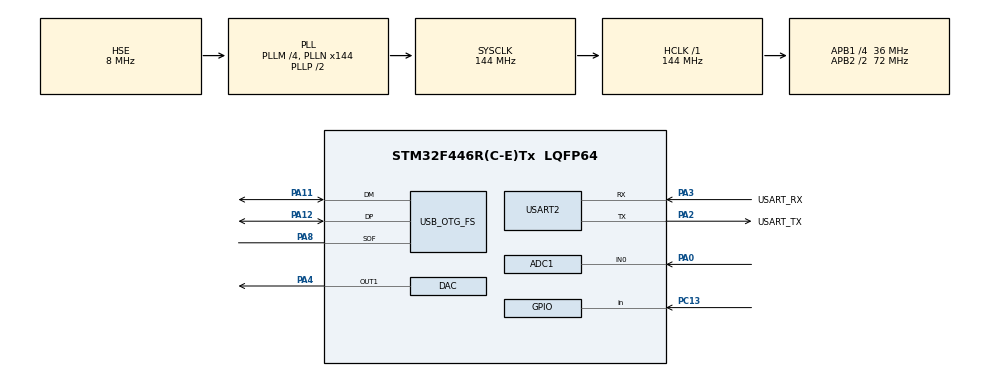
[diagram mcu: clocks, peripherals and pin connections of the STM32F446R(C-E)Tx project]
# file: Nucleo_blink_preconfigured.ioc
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ADC1.Channel-2\#ChannelRegularConversion=ADC_CHANNEL_0
ADC1.ClockPrescaler=ADC_CLOCK_SYNC_PCLK_DIV4
ADC1.DMAContinuousRequests=ENABLE
ADC1.ExternalTrigConv=ADC_EXTERNALTRIGCONV_T2_TRGO
ADC1.NbrOfConversionFlag=1
ADC1.Rank-2\#ChannelRegularConversion=1
ADC1.SamplingTime-2\#ChannelRegularConversion=ADC_SAMPLETIME_144CYCLES
ADC1.ScanConvMode=DISABLE
ADC1.master=1
DAC.DAC_Trigger=DAC_TRIGGER_T6_TRGO
Dma.ADC1.0.Direction=DMA_PERIPH_TO_MEMORY
Dma.ADC1.0.FIFOMode=DMA_FIFOMODE_DISABLE
Dma.ADC1.0.Instance=DMA2_Stream0
Dma.ADC1.0.MemDataAlignment=DMA_MDATAALIGN_HALFWORD
Dma.ADC1.0.MemInc=DMA_MINC_ENABLE
Dma.ADC1.0.Mode=DMA_CIRCULAR
Dma.ADC1.0.PeriphDataAlignment=DMA_PDATAALIGN_HALFWORD
Dma.ADC1.0.PeriphInc=DMA_PINC_DISABLE
Dma.ADC1.0.Priority=DMA_PRIORITY_LOW
Dma.DAC1.1.Direction=DMA_MEMORY_TO_PERIPH
Dma.DAC1.1.FIFOMode=DMA_FIFOMODE_DISABLE
Dma.DAC1.1.Instance=DMA1_Stream5
Dma.DAC1.1.MemDataAlignment=DMA_MDATAALIGN_WORD
Dma.DAC1.1.MemInc=DMA_MINC_ENABLE
Dma.DAC1.1.Mode=DMA_CIRCULAR
Dma.DAC1.1.PeriphDataAlignment=DMA_PDATAALIGN_WORD
Dma.DAC1.1.PeriphInc=DMA_PINC_DISABLE
Dma.DAC1.1.Priority=DMA_PRIORITY_VERY_HIGH
Dma.Request0=ADC1
Dma.Request1=DAC1
Mcu.Family=STM32F4
Mcu.Name=STM32F446R(C-E)Tx
Mcu.Package=LQFP64
NVIC.DMA1_Stream5_IRQn=true\:0\:0\:false\:false\:true\:false\:true\:true
NVIC.DMA2_Stream0_IRQn=true\:0\:0\:false\:false\:true\:false\:true\:true
NVIC.OTG_FS_IRQn=true\:0\:0\:false\:false\:true\:false\:true\:true
NVIC.PriorityGroup=NVIC_PRIORITYGROUP_0
NVIC.TIM6_DAC_IRQn=true\:0\:0\:false\:false\:true\:true\:true\:true
PA0-WKUP.Signal=ADCx_IN0
PA11.Mode=Device_Only
PA11.Signal=USB_OTG_FS_DM
PA12.Mode=Device_Only
PA12.Signal=USB_OTG_FS_DP
PA13.GPIO_Label=TMS
PA13.Mode=Serial_Wire
PA13.Signal=SYS_JTMS-SWDIO
PA14.GPIO_Label=TCK
PA14.Mode=Serial_Wire
PA14.Signal=SYS_JTCK-SWCLK
PA2.GPIO_Label=USART_TX
PA2.Mode=Asynchronous
PA2.Signal=USART2_TX
PA3.GPIO_Label=USART_RX
PA3.Mode=Asynchronous
PA3.Signal=USART2_RX
PA4.Signal=COMP_DAC1_group
PA8.Mode=Activate_SOF_FS
PA8.Signal=USB_OTG_FS_SOF
PB3.GPIO_Label=SWO
PB3.Signal=SYS_JTDO-SWO
PC13.Signal=GPIO_Input
PH0-OSC_IN.Mode=HSE-External-Oscillator
PH0-OSC_IN.Signal=RCC_OSC_IN
PH1-OSC_OUT.Mode=HSE-External-Oscillator
PH1-OSC_OUT.Signal=RCC_OSC_OUT
ProjectManager.HeapSize=0x4000
ProjectManager.StackSize=0x2000
ProjectManager.TargetToolchain=STM32CubeIDE
RCC.48MHZClocksFreq_Value=84000000
RCC.AHBFreq_Value=144000000
RCC.APB1CLKDivider=RCC_HCLK_DIV4
RCC.APB1Freq_Value=36000000
RCC.APB1TimFreq_Value=72000000
RCC.APB2CLKDivider=RCC_HCLK_DIV2
RCC.APB2Freq_Value=72000000
RCC.APB2TimFreq_Value=144000000
RCC.CortexFreq_Value=144000000
RCC.FLatency-AdvancedSettings=FLASH_LATENCY_4
RCC.HCLKFreq_Value=144000000
RCC.HSE_VALUE=8000000
RCC.HSI_VALUE=16000000
RCC.PLLM=4
RCC.PLLN=144
RCC.PLLQ=6
RCC.PLLSourceVirtual=RCC_PLLSOURCE_HSE
RCC.SYSCLKFreq_VALUE=144000000
RCC.SYSCLKSource=RCC_SYSCLKSOURCE_PLLCLK
RCC.USBFreq_Value=48000000
RCC.VCOOutputFreq_Value=288000000
SH.ADCx_IN0.0=ADC1_IN0,IN0
SH.COMP_DAC1_group.0=DAC_OUT1,DAC_OUT1
TIM2.Channel-PWM\ Generation1\ No\ Output=TIM_CHANNEL_1
TIM2.Period=500-1
TIM2.Prescaler=1440-1
TIM2.TIM_MasterOutputTrigger=TIM_TRGO_UPDATE
TIM6.AutoReloadPreload=TIM_AUTORELOAD_PRELOAD_DISABLE
TIM6.Period=1500-1
TIM6.Prescaler=0
TIM6.TIM_MasterOutputTrigger=TIM_TRGO_UPDATE
USART2.VirtualMode=VM_ASYNC
USB_DEVICE.CLASS_NAME_FS=AUDIO
USB_DEVICE.USBD_AUDIO_FREQ-AUDIO_FS=48000
USB_DEVICE.USBD_MAX_NUM_INTERFACES-AUDIO_FS=2
USB_DEVICE.VirtualMode-AUDIO_FS=Audio
USB_DEVICE.VirtualModeFS=Audio_FS
USB_OTG_FS.VirtualMode=Device_Only
VP_TIM2_VS_ClockSourceINT.Mode=Internal
VP_TIM2_VS_no_output1.Mode=PWM Generation1 No Output
VP_TIM6_VS_ClockSourceINT.Mode=Enable_Timer
VP_USB_DEVICE_VS_USB_DEVICE_AUDIO_FS.Mode=AUDIO_FS
board=NUCLEO-F446RE

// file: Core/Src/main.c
/* USER CODE BEGIN Header */
/**
 ******************************************************************************
 * @file           : main.c
 * @brief          : Main program body
 ******************************************************************************
 * @attention
 *
 * Copyright (c) 2022 STMicroelectronics.
 * All rights reserved.
 *
 * This software is licensed under terms that can be found in the LICENSE file
 * in the root directory of this software component.
 * If no LICENSE file comes with this software, it is provided AS-IS.
 *
 ******************************************************************************
 */
/* USER CODE END Header */
#include "main.h"
#include "usb_device.h"

/* USER CODE BEGIN Includes */
#include <string.h>
#include <math.h>
#include <stdio.h>
#include "usbd_midi.h"
extern USBD_HandleTypeDef hUsbDeviceFS;

/* USER CODE END Includes */

/* USER CODE BEGIN PD */
#define NS  128
#define BUFFER_SIZE  128
#define FLOAT_TO_INT16 32768.0f
#define FLOAT_TO_INT12 2047.5f
//#define FLOAT_TO_INT12 1024.0f
//1024.0f//
#define INT12_TO_FLOAT 1.0f / (2047.5f)
//extern uint8_t dataIsReadyFlag;
/* USER CODE END PD */

/* USER CODE BEGIN PM */
void HAL_DAC_ConvHalfCpltCallbackCh1(DAC_HandleTypeDef *hdac_);
void HAL_DAC_ConvCpltCallbackCh1(DAC_HandleTypeDef *hdac_);
/* USER CODE END PM */

ADC_HandleTypeDef hadc1;
DMA_HandleTypeDef hdma_adc1;

DAC_HandleTypeDef hdac;
DMA_HandleTypeDef hdma_dac1;

TIM_HandleTypeDef htim2;
TIM_HandleTypeDef htim6;

UART_HandleTypeDef huart2;

/* USER CODE BEGIN PV */

uint32_t Wave_LUT[NS] = { 2048, 2149, 2250, 2350, 2450, 2549, 2646, 2742, 2837,
		2929, 3020, 3108, 3193, 3275, 3355, 3431, 3504, 3574, 3639, 3701, 3759,
		3812, 3861, 3906, 3946, 3982, 4013, 4039, 4060, 4076, 4087, 4094, 4095,
		4091, 4082, 4069, 4050, 4026, 3998, 3965, 3927, 3884, 3837, 3786, 3730,
		3671, 3607, 3539, 3468, 3394, 3316, 3235, 3151, 3064, 2975, 2883, 2790,
		2695, 2598, 2500, 2400, 2300, 2199, 2098, 1997, 1896, 1795, 1695, 1595,
		1497, 1400, 1305, 1212, 1120, 1031, 944, 860, 779, 701, 627, 556, 488,
		424, 365, 309, 258, 211, 168, 130, 97, 69, 45, 26, 13, 4, 0, 1, 8, 19,
		35, 56, 82, 113, 149, 189, 234, 283, 336, 394, 456, 521, 591, 664, 740,
		820, 902, 987, 1075, 1166, 1258, 1353, 1449, 1546, 1645, 1745, 1845,
		1946, 2047 };
uint32_t dacData[NS] = { 2048, 2149, 2250, 2350, 2450, 2549, 2646, 2742, 2837,
		2929, 3020, 3108, 3193, 3275, 3355, 3431, 3504, 3574, 3639, 3701, 3759,
		3812, 3861, 3906, 3946, 3982, 4013, 4039, 4060, 4076, 4087, 4094, 4095,
		4091, 4082, 4069, 4050, 4026, 3998, 3965, 3927, 3884, 3837, 3786, 3730,
		3671, 3607, 3539, 3468, 3394, 3316, 3235, 3151, 3064, 2975, 2883, 2790,
		2695, 2598, 2500, 2400, 2300, 2199, 2098, 1997, 1896, 1795, 1695, 1595,
		1497, 1400, 1305, 1212, 1120, 1031, 944, 860, 779, 701, 627, 556, 488,
		424, 365, 309, 258, 211, 168, 130, 97, 69, 45, 26, 13, 4, 0, 1, 8, 19,
		35, 56, 82, 113, 149, 189, 234, 283, 336, 394, 456, 521, 591, 664, 740,
		820, 902, 987, 1075, 1166, 1258, 1353, 1449, 1546, 1645, 1745, 1845,
		1946, 2047 };

static volatile uint32_t *outBufPtr = &dacData[0];
uint8_t dataReadyFlag;
double deltaOmega = 0.0f;
double omega = 0.0f;
uint8_t timesCalled = 0;
uint16_t adcControlData[1];
float potValue;
double period;
float (*signalFunc)(float);
char resetButton = 0;

/* USER CODE END PV */

void SystemClock_Config(void);
static void MX_GPIO_Init(void);
static void MX_DMA_Init(void);
static void MX_USART2_UART_Init(void);
static void MX_DAC_Init(void);
static void MX_TIM6_Init(void);
static void MX_ADC1_Init(void);
static void MX_TIM2_Init(void);

/* USER CODE BEGIN 0 */

void HAL_DAC_ConvHalfCpltCallbackCh1(DAC_HandleTypeDef *hdac_) {
	if (hdac_ == &hdac) {
		outBufPtr = &dacData[0];
		dataReadyFlag = 1;
	}
}
void HAL_DAC_ConvCpltCallbackCh1(DAC_HandleTypeDef *hdac_) {
	if (hdac_ == &hdac) {
		outBufPtr = &dacData[BUFFER_SIZE / 2];
		dataReadyFlag = 1;
	}
}

// Called when buffer is completely filled
float freqRange = 10.0f - 0.0f;
void HAL_ADC_ConvCpltCallback(ADC_HandleTypeDef *hadc) {
	if (hadc == &hadc1) {
		float frequency;

		potValue = ((float) (4095 - adcControlData[0])) / 4095.0f;
		frequency = 440.0 + potValue * 440.0;
		setFrequency(frequency);
	}
}

// This function calculates the PolyBLEPs
double poly_blep(double t) {
	double dt = deltaOmega;

// t-t^2/2 +1/2
// 0 < t <= 1
// discontinuities between 0 & 1
	if (t < dt) {
		t /= dt;
		return t + t - t * t - 1.0;
	}

// t^2/2 +t +1/2
// -1 <= t <= 0
// discontinuities between -1 & 0
	else if (t > 1 - dt) {
		t = (t - 1.0) / dt;
		return t * t + t + t + 1.0;
	}

// no discontinuities
// 0 otherwise
	else
		return 0.0;
}

float sine(float phase) {
	return sinf(M_TWOPI * phase);
}

float square(float phase) {
	double t = phase; // Define half phase
	float value = 0.0;

	if (phase < 0.5) {
		value = 1.0; // Flip
	} else {
		value = -1.0; // Flop
	}
	value += poly_blep(t); // Layer output of Poly BLEP on top (flip)
	value -= poly_blep(fmod(t + 0.5, 1.0)); // Layer output of Poly BLEP on top (flop)

	return value; // Output

}

float sawtooth(float phase) {
	double t = phase; // Define half phase
	float value = 0.0;
	value = (2.0 * phase) - 1.0; // Render naive waveshape
	value -= poly_blep(t); // Layer output of Poly BLEP on top
	return value;
}

float triangle(float phase) {
	float value = (2.0 * (phase * (1.0 / M_TWOPI))) - 1.0;
	if (value < 0.0) {
		value = -value;
	}
	return 2.0 * (value - 0.5);
}

void setFrequency(double frequency) {
	deltaOmega = frequency / 48000.0f;
}

uint32_t timesProcessed = 0;

void processUSBData() {
	USBD_MIDI_HandleTypeDef *haudio =
			(USBD_MIDI_HandleTypeDef*) hUsbDeviceFS.pClassDataCmsit[hUsbDeviceFS.classId];

	if (haudio == NULL) {
		return;
	}
	timesProcessed++; // 1 ms counter
	double tempDeltaOmega = 0.0;
	if(timesProcessed >= 1000) {
		timesProcessed -= 1000;
	}
	if(timesProcessed < 333) {
		tempDeltaOmega = 440.0 / 48000.0f;
	} else if (timesProcessed < 666) {
		tempDeltaOmega = 659.25 / 48000.0f;
	} else{
		tempDeltaOmega = 880.0 / 48000.0f;
	}
	int16_t *buf_part = haudio->in_buffer
			+ (AUDIO_IN_PACKET / 2) * haudio->in_buffer_half; // USB mic buffer access

	for (uint8_t n = 0; n < AUDIO_IN_PACKET / 2; n++) {
		float output = signalFunc(haudio->omega);
		buf_part[n] = (int16_t) (32767.0 * output);
		haudio->omega += deltaOmega;
		if (haudio->omega >= 1.0) {
			haudio->omega -= 1.0;
		}
	}
	haudio->data_ready_flag = 0;
}

void processData() {
	for (uint8_t n = 0; n < BUFFER_SIZE / 2; n++) {
		float output = signalFunc(omega);
		output += 1.0f;
		outBufPtr[n] = (uint32_t) (FLOAT_TO_INT12 * output);
		omega += deltaOmega;
		if (omega >= 1.0) {
			omega -= 1.0;
		}
	}

	dataReadyFlag = 0;
}
/* USER CODE END 0 */

int main(void)
{
  /* USER CODE BEGIN 1 */
	char uart_buf[1000];
	int uart_buf_len;
	uint16_t timer_val;

  /* USER CODE END 1 */

  /* MCU Configuration--------------------------------------------------------*/

  /* Reset of all peripherals, Initializes the Flash interface and the Systick. */
  HAL_Init();

  /* Configure the system clock */
  SystemClock_Config();

  /* Initialize all configured peripherals */
  MX_GPIO_Init();
  MX_DMA_Init();
  MX_USART2_UART_Init();
  MX_DAC_Init();
  MX_TIM6_Init();
  MX_ADC1_Init();
  MX_TIM2_Init();
  MX_USB_DEVICE_Init();
  /* USER CODE BEGIN 2 */
	signalFunc = sawtooth;
	setFrequency(440.0);

	HAL_TIM_Base_Start_IT(&htim6);
	HAL_DAC_Start_DMA(&hdac, DAC_CHANNEL_1, (uint32_t*) dacData,
	BUFFER_SIZE,
	DAC_ALIGN_12B_R);
	HAL_ADC_Start_DMA(&hadc1, (uint32_t*) adcControlData, 1);
	HAL_TIM_Base_Start(&htim2);

	uint32_t last_time = HAL_GetTick();

  /* USER CODE END 2 */

  /* Infinite loop */
  /* USER CODE BEGIN WHILE */
	while (1) {
		USBD_MIDI_HandleTypeDef *haudio =
				(USBD_MIDI_HandleTypeDef*) hUsbDeviceFS.pClassDataCmsit[hUsbDeviceFS.classId];
		if (dataReadyFlag) {
			processData();
		}
		if (haudio != NULL && haudio->data_ready_flag == 1) {
			processUSBData();
		}

		int stateOfPushButton = HAL_GPIO_ReadPin(GPIOC, GPIO_PIN_13);
		if (stateOfPushButton == 1) {
			resetButton = 0;
		} else if (resetButton == 0) {
			if (signalFunc == sine) {
				signalFunc = square;
			} else if (signalFunc == square) {
				signalFunc = sawtooth;
			} else if (signalFunc == sawtooth) {
				signalFunc = sine;
			}

			resetButton = 1;
		}
		if (HAL_GetTick() - last_time > 1000) {
			if (haudio != NULL) {
				uart_buf_len = sprintf(uart_buf, "%d, %d\r\n", haudio->frame_rate, timesProcessed);
				HAL_UART_Transmit(&huart2, (uint8_t*) uart_buf, uart_buf_len, 100);
				haudio->frame_rate=0;
			}
//			uart_buf_len = sprintf(uart_buf, "test\r\n");
//			HAL_UART_Transmit(&huart2, (uint8_t*) uart_buf, uart_buf_len, 100);
			last_time = HAL_GetTick();
		}
	}
    /* USER CODE END WHILE */

}

void SystemClock_Config(void)
{
  RCC_OscInitTypeDef RCC_OscInitStruct = {0};
  RCC_ClkInitTypeDef RCC_ClkInitStruct = {0};

  /** Configure the main internal regulator output voltage
  */
  __HAL_RCC_PWR_CLK_ENABLE();
  __HAL_PWR_VOLTAGESCALING_CONFIG(PWR_REGULATOR_VOLTAGE_SCALE1);

  /** Initializes the RCC Oscillators according to the specified parameters
  * in the RCC_OscInitTypeDef structure.
  */
  RCC_OscInitStruct.OscillatorType = RCC_OSCILLATORTYPE_HSE;
  RCC_OscInitStruct.HSEState = RCC_HSE_ON;
  RCC_OscInitStruct.PLL.PLLState = RCC_PLL_ON;
  RCC_OscInitStruct.PLL.PLLSource = RCC_PLLSOURCE_HSE;
  RCC_OscInitStruct.PLL.PLLM = 4;
  RCC_OscInitStruct.PLL.PLLN = 144;
  RCC_OscInitStruct.PLL.PLLP = RCC_PLLP_DIV2;
  RCC_OscInitStruct.PLL.PLLQ = 6;
  RCC_OscInitStruct.PLL.PLLR = 2;
  if (HAL_RCC_OscConfig(&RCC_OscInitStruct) != HAL_OK)
  {
    Error_Handler();
  }

  /** Initializes the CPU, AHB and APB buses clocks
  */
  RCC_ClkInitStruct.ClockType = RCC_CLOCKTYPE_HCLK|RCC_CLOCKTYPE_SYSCLK
                              |RCC_CLOCKTYPE_PCLK1|RCC_CLOCKTYPE_PCLK2;
  RCC_ClkInitStruct.SYSCLKSource = RCC_SYSCLKSOURCE_PLLCLK;
  RCC_ClkInitStruct.AHBCLKDivider = RCC_SYSCLK_DIV1;
  RCC_ClkInitStruct.APB1CLKDivider = RCC_HCLK_DIV4;
  RCC_ClkInitStruct.APB2CLKDivider = RCC_HCLK_DIV2;

  if (HAL_RCC_ClockConfig(&RCC_ClkInitStruct, FLASH_LATENCY_4) != HAL_OK)
  {
    Error_Handler();
  }
}

static void MX_ADC1_Init(void)
{

  ADC_ChannelConfTypeDef sConfig = {0};

  /** Configure the global features of the ADC (Clock, Resolution, Data Alignment and number of conversion)
  */
  hadc1.Instance = ADC1;
  hadc1.Init.ClockPrescaler = ADC_CLOCK_SYNC_PCLK_DIV4;
  hadc1.Init.Resolution = ADC_RESOLUTION_12B;
  hadc1.Init.ScanConvMode = DISABLE;
  hadc1.Init.ContinuousConvMode = DISABLE;
  hadc1.Init.DiscontinuousConvMode = DISABLE;
  hadc1.Init.ExternalTrigConvEdge = ADC_EXTERNALTRIGCONVEDGE_RISING;
  hadc1.Init.ExternalTrigConv = ADC_EXTERNALTRIGCONV_T2_TRGO;
  hadc1.Init.DataAlign = ADC_DATAALIGN_RIGHT;
  hadc1.Init.NbrOfConversion = 1;
  hadc1.Init.DMAContinuousRequests = ENABLE;
  hadc1.Init.EOCSelection = ADC_EOC_SINGLE_CONV;
  if (HAL_ADC_Init(&hadc1) != HAL_OK)
  {
    Error_Handler();
  }

  /** Configure for the selected ADC regular channel its corresponding rank in the sequencer and its sample time.
  */
  sConfig.Channel = ADC_CHANNEL_0;
  sConfig.Rank = 1;
  sConfig.SamplingTime = ADC_SAMPLETIME_144CYCLES;
  if (HAL_ADC_ConfigChannel(&hadc1, &sConfig) != HAL_OK)
  {
    Error_Handler();
  }

}

static void MX_DAC_Init(void)
{

  DAC_ChannelConfTypeDef sConfig = {0};

  /** DAC Initialization
  */
  hdac.Instance = DAC;
  if (HAL_DAC_Init(&hdac) != HAL_OK)
  {
    Error_Handler();
  }

  /** DAC channel OUT1 config
  */
  sConfig.DAC_Trigger = DAC_TRIGGER_T6_TRGO;
  sConfig.DAC_OutputBuffer = DAC_OUTPUTBUFFER_ENABLE;
  if (HAL_DAC_ConfigChannel(&hdac, &sConfig, DAC_CHANNEL_1) != HAL_OK)
  {
    Error_Handler();
  }

}

static void MX_TIM2_Init(void)
{

  TIM_ClockConfigTypeDef sClockSourceConfig = {0};
  TIM_MasterConfigTypeDef sMasterConfig = {0};
  TIM_OC_InitTypeDef sConfigOC = {0};

  htim2.Instance = TIM2;
  htim2.Init.Prescaler = 1440-1;
  htim2.Init.CounterMode = TIM_COUNTERMODE_UP;
  htim2.Init.Period = 500-1;
  htim2.Init.ClockDivision = TIM_CLOCKDIVISION_DIV1;
  htim2.Init.AutoReloadPreload = TIM_AUTORELOAD_PRELOAD_DISABLE;
  if (HAL_TIM_Base_Init(&htim2) != HAL_OK)
  {
    Error_Handler();
  }
  sClockSourceConfig.ClockSource = TIM_CLOCKSOURCE_INTERNAL;
  if (HAL_TIM_ConfigClockSource(&htim2, &sClockSourceConfig) != HAL_OK)
  {
    Error_Handler();
  }
  if (HAL_TIM_PWM_Init(&htim2) != HAL_OK)
  {
    Error_Handler();
  }
  sMasterConfig.MasterOutputTrigger = TIM_TRGO_UPDATE;
  sMasterConfig.MasterSlaveMode = TIM_MASTERSLAVEMODE_DISABLE;
  if (HAL_TIMEx_MasterConfigSynchronization(&htim2, &sMasterConfig) != HAL_OK)
  {
    Error_Handler();
  }
  sConfigOC.OCMode = TIM_OCMODE_PWM1;
  sConfigOC.Pulse = 0;
  sConfigOC.OCPolarity = TIM_OCPOLARITY_HIGH;
  sConfigOC.OCFastMode = TIM_OCFAST_DISABLE;
  if (HAL_TIM_PWM_ConfigChannel(&htim2, &sConfigOC, TIM_CHANNEL_1) != HAL_OK)
  {
    Error_Handler();
  }

}

static void MX_TIM6_Init(void)
{

  TIM_MasterConfigTypeDef sMasterConfig = {0};

  htim6.Instance = TIM6;
  htim6.Init.Prescaler = 0;
  htim6.Init.CounterMode = TIM_COUNTERMODE_UP;
  htim6.Init.Period = 1500-1;
  htim6.Init.AutoReloadPreload = TIM_AUTORELOAD_PRELOAD_DISABLE;
  if (HAL_TIM_Base_Init(&htim6) != HAL_OK)
  {
    Error_Handler();
  }
  sMasterConfig.MasterOutputTrigger = TIM_TRGO_UPDATE;
  sMasterConfig.MasterSlaveMode = TIM_MASTERSLAVEMODE_DISABLE;
  if (HAL_TIMEx_MasterConfigSynchronization(&htim6, &sMasterConfig) != HAL_OK)
  {
    Error_Handler();
  }

}

static void MX_USART2_UART_Init(void)
{

  huart2.Instance = USART2;
  huart2.Init.BaudRate = 115200;
  huart2.Init.WordLength = UART_WORDLENGTH_8B;
  huart2.Init.StopBits = UART_STOPBITS_1;
  huart2.Init.Parity = UART_PARITY_NONE;
  huart2.Init.Mode = UART_MODE_TX_RX;
  huart2.Init.HwFlowCtl = UART_HWCONTROL_NONE;
  huart2.Init.OverSampling = UART_OVERSAMPLING_16;
  if (HAL_UART_Init(&huart2) != HAL_OK)
  {
    Error_Handler();
  }

}

static void MX_DMA_Init(void)
{

  /* DMA controller clock enable */
  __HAL_RCC_DMA2_CLK_ENABLE();
  __HAL_RCC_DMA1_CLK_ENABLE();

  /* DMA interrupt init */
  /* DMA1_Stream5_IRQn interrupt configuration */
  HAL_NVIC_SetPriority(DMA1_Stream5_IRQn, 0, 0);
  HAL_NVIC_EnableIRQ(DMA1_Stream5_IRQn);
  /* DMA2_Stream0_IRQn interrupt configuration */
  HAL_NVIC_SetPriority(DMA2_Stream0_IRQn, 0, 0);
  HAL_NVIC_EnableIRQ(DMA2_Stream0_IRQn);

}

static void MX_GPIO_Init(void)
{
  GPIO_InitTypeDef GPIO_InitStruct = {0};

  /* GPIO Ports Clock Enable */
  __HAL_RCC_GPIOC_CLK_ENABLE();
  __HAL_RCC_GPIOH_CLK_ENABLE();
  __HAL_RCC_GPIOA_CLK_ENABLE();
  __HAL_RCC_GPIOB_CLK_ENABLE();

  /*Configure GPIO pin : PC13 */
  GPIO_InitStruct.Pin = GPIO_PIN_13;
  GPIO_InitStruct.Mode = GPIO_MODE_INPUT;
  GPIO_InitStruct.Pull = GPIO_NOPULL;
  HAL_GPIO_Init(GPIOC, &GPIO_InitStruct);

}

void Error_Handler(void)
{
	__disable_irq();
	while (1) {
	}
}
